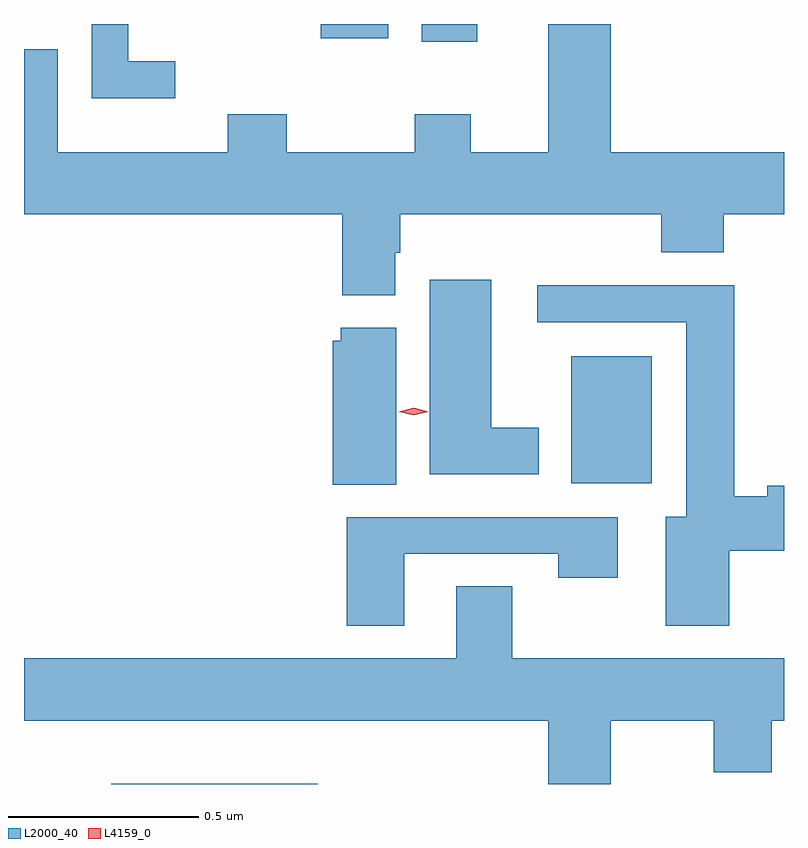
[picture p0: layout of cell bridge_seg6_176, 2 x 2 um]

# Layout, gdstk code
import gdstk
lib = gdstk.Library(unit=1e-6, precision=1e-09)
def R(c, l, rs):  # rectangles x0, y0, x1, y1
    for r in rs: c.add(gdstk.rectangle(r[:2], r[2:], *l))
def P(c, l, *ps):  # polygons
    for p in ps: c.add(gdstk.Polygon(p, *l))
L2000_40 = (2000, 40)
L4159_0 = (4159, 0)

bridge_seg6_176 = lib.new_cell('bridge_seg6_176')
R(bridge_seg6_176, L2000_40, [(235.785,944.505,236.329,944.506), (236.996,945.296,237.208,945.631), (236.603,946.458,236.749,946.505), (236.337,946.467,236.514,946.505)])
P(bridge_seg6_176, L2000_40, [(235.954,946.407),(235.83,946.407),(235.83,946.505),(235.734,946.505),(235.734,946.31),(235.954,946.31)],
  [(236.936,946.505),(236.936,946.168),(236.731,946.168),(236.731,946.267),(236.584,946.267),(236.584,946.168),(236.247,946.168),(236.247,946.267),(236.092,946.267),(236.092,946.168),(235.645,946.168),(235.645,946.439),(235.556,946.439),(235.556,946.004),(236.393,946.004),(236.393,945.791),(236.533,945.791),(236.533,945.903),(236.546,945.903),(236.546,946.004),(237.233,946.004),(237.233,945.905),(237.398,945.905),(237.398,946.004),(237.556,946.004),(237.556,946.168),(237.1,946.168),(237.1,946.505)],
  [(236.911,945.442),(236.785,945.442),(236.785,945.832),(236.624,945.832),(236.624,945.32),(236.911,945.32)],
  [(237.412,945.119),(237.556,945.119),(237.556,945.29),(237.512,945.29),(237.512,945.262),(237.425,945.262),(237.425,945.818),(236.907,945.818),(236.907,945.72),(237.299,945.72),(237.299,945.208),(237.245,945.208),(237.245,944.922),(237.412,944.922)],
  [(236.536,945.706),(236.39,945.706),(236.39,945.672),(236.369,945.672),(236.369,945.292),(236.536,945.292)],
  [(236.557,945.111),(236.962,945.111),(236.962,945.048),(237.118,945.048),(237.118,945.207),(236.405,945.207),(236.405,944.922),(236.557,944.922)],
  [(237.1,944.672),(237.371,944.672),(237.371,944.536),(237.524,944.536),(237.524,944.672),(237.556,944.672),(237.556,944.836),(236.841,944.836),(236.841,945.026),(236.693,945.026),(236.693,944.836),(235.556,944.836),(235.556,944.672),(236.936,944.672),(236.936,944.505),(237.1,944.505)])
P(bridge_seg6_176, L4159_0, [(236.581,945.475),(236.542,945.485),(236.542,945.485),(236.542,945.485),(236.581,945.495),(236.62,945.485),(236.62,945.485),(236.62,945.485)])

lib.write_gds('bridge_seg6_176.gds')
